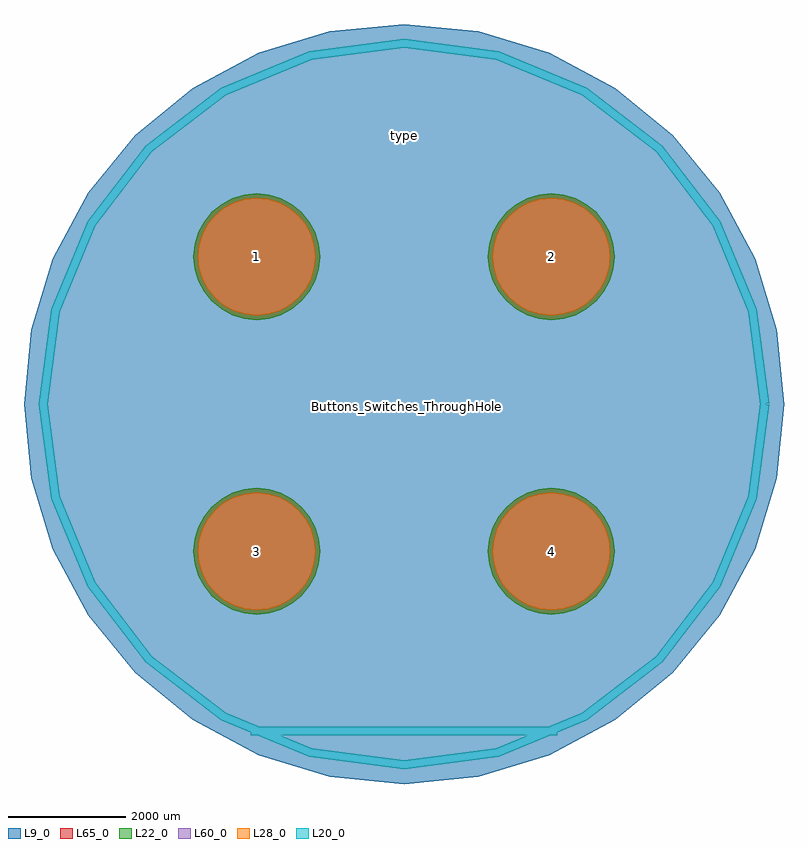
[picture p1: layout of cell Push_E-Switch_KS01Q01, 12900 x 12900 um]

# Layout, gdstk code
import gdstk
lib = gdstk.Library(unit=1e-6, precision=1e-09)
def P(c, l, *ps):  # polygons
    for p in ps: c.add(gdstk.Polygon(p, *l))
L9_0 = (9, 0)
L20_0 = (20, 0)
L22_0 = (22, 0)
L28_0 = (28, 0)
L60_0 = (60, 0)
L65_0 = (65, 0)

push_e_switch_ks01q01 = lib.new_cell('Push_E-Switch_KS01Q01')
P(push_e_switch_ks01q01, L9_0, [(8950,-2500),(8826.065,-1241.667),(8459.023,-31.692),(7862.979,1083.428),(7060.839,2060.839),(6083.428,2862.979),(4968.308,3459.023),(3758.333,3826.065),(2500,3950),(1241.667,3826.065),(31.692,3459.023),(-1083.428,2862.979),(-2060.839,2060.839),(-2862.979,1083.428),(-3459.023,-31.692),(-3826.065,-1241.667),(-3950,-2500),(-3826.065,-3758.333),(-3459.023,-4968.308),(-2862.979,-6083.428),(-2060.839,-7060.839),(-1083.428,-7862.979),(31.692,-8459.023),(1241.667,-8826.065),(2500,-8950),(3758.333,-8826.065),(4968.308,-8459.023),(6083.428,-7862.979),(7060.839,-7060.839),(7862.979,-6083.428),(8459.023,-4968.308),(8826.065,-3758.333)])
P(push_e_switch_ks01q01, L22_0, [(1075,-5000),(1054.344,-4790.278),(993.17,-4588.615),(893.83,-4402.762),(760.14,-4239.86),(597.238,-4106.17),(411.385,-4006.83),(209.722,-3945.656),(0,-3925),(-209.722,-3945.656),(-411.385,-4006.83),(-597.238,-4106.17),(-760.14,-4239.86),(-893.83,-4402.762),(-993.17,-4588.615),(-1054.344,-4790.278),(-1075,-5000),(-1054.344,-5209.722),(-993.17,-5411.385),(-893.83,-5597.238),(-760.14,-5760.14),(-597.238,-5893.83),(-411.385,-5993.17),(-209.722,-6054.344),(0,-6075),(209.722,-6054.344),(411.385,-5993.17),(597.238,-5893.83),(760.14,-5760.14),(893.83,-5597.238),(993.17,-5411.385),(1054.344,-5209.722)],
  [(6075,-5000),(6054.344,-4790.278),(5993.17,-4588.615),(5893.83,-4402.762),(5760.14,-4239.86),(5597.238,-4106.17),(5411.385,-4006.83),(5209.722,-3945.656),(5000,-3925),(4790.278,-3945.656),(4588.615,-4006.83),(4402.762,-4106.17),(4239.86,-4239.86),(4106.17,-4402.762),(4006.83,-4588.615),(3945.656,-4790.278),(3925,-5000),(3945.656,-5209.722),(4006.83,-5411.385),(4106.17,-5597.238),(4239.86,-5760.14),(4402.762,-5893.83),(4588.615,-5993.17),(4790.278,-6054.344),(5000,-6075),(5209.722,-6054.344),(5411.385,-5993.17),(5597.238,-5893.83),(5760.14,-5760.14),(5893.83,-5597.238),(5993.17,-5411.385),(6054.344,-5209.722)],
  [(6075,0),(6054.344,209.722),(5993.17,411.385),(5893.83,597.238),(5760.14,760.14),(5597.238,893.83),(5411.385,993.17),(5209.722,1054.344),(5000,1075),(4790.278,1054.344),(4588.615,993.17),(4402.762,893.83),(4239.86,760.14),(4106.17,597.238),(4006.83,411.385),(3945.656,209.722),(3925,0),(3945.656,-209.722),(4006.83,-411.385),(4106.17,-597.238),(4239.86,-760.14),(4402.762,-893.83),(4588.615,-993.17),(4790.278,-1054.344),(5000,-1075),(5209.722,-1054.344),(5411.385,-993.17),(5597.238,-893.83),(5760.14,-760.14),(5893.83,-597.238),(5993.17,-411.385),(6054.344,-209.722)],
  [(1075,0),(1054.344,209.722),(993.17,411.385),(893.83,597.238),(760.14,760.14),(597.238,893.83),(411.385,993.17),(209.722,1054.344),(0,1075),(-209.722,1054.344),(-411.385,993.17),(-597.238,893.83),(-760.14,760.14),(-893.83,597.238),(-993.17,411.385),(-1054.344,209.722),(-1075,0),(-1054.344,-209.722),(-993.17,-411.385),(-893.83,-597.238),(-760.14,-760.14),(-597.238,-893.83),(-411.385,-993.17),(-209.722,-1054.344),(0,-1075),(209.722,-1054.344),(411.385,-993.17),(597.238,-893.83),(760.14,-760.14),(893.83,-597.238),(993.17,-411.385),(1054.344,-209.722)])
P(push_e_switch_ks01q01, L28_0, [(1000,-5000),(980.785,-4804.91),(923.88,-4617.317),(831.47,-4444.43),(707.107,-4292.893),(555.57,-4168.53),(382.683,-4076.12),(195.09,-4019.215),(0,-4000),(-195.09,-4019.215),(-382.683,-4076.12),(-555.57,-4168.53),(-707.107,-4292.893),(-831.47,-4444.43),(-923.88,-4617.317),(-980.785,-4804.91),(-1000,-5000),(-980.785,-5195.09),(-923.88,-5382.683),(-831.47,-5555.57),(-707.107,-5707.107),(-555.57,-5831.47),(-382.683,-5923.88),(-195.09,-5980.785),(0,-6000),(195.09,-5980.785),(382.683,-5923.88),(555.57,-5831.47),(707.107,-5707.107),(831.47,-5555.57),(923.88,-5382.683),(980.785,-5195.09)],
  [(6000,-5000),(5980.785,-4804.91),(5923.88,-4617.317),(5831.47,-4444.43),(5707.107,-4292.893),(5555.57,-4168.53),(5382.683,-4076.12),(5195.09,-4019.215),(5000,-4000),(4804.91,-4019.215),(4617.317,-4076.12),(4444.43,-4168.53),(4292.893,-4292.893),(4168.53,-4444.43),(4076.12,-4617.317),(4019.215,-4804.91),(4000,-5000),(4019.215,-5195.09),(4076.12,-5382.683),(4168.53,-5555.57),(4292.893,-5707.107),(4444.43,-5831.47),(4617.317,-5923.88),(4804.91,-5980.785),(5000,-6000),(5195.09,-5980.785),(5382.683,-5923.88),(5555.57,-5831.47),(5707.107,-5707.107),(5831.47,-5555.57),(5923.88,-5382.683),(5980.785,-5195.09)],
  [(6000,0),(5980.785,195.09),(5923.88,382.683),(5831.47,555.57),(5707.107,707.107),(5555.57,831.47),(5382.683,923.88),(5195.09,980.785),(5000,1000),(4804.91,980.785),(4617.317,923.88),(4444.43,831.47),(4292.893,707.107),(4168.53,555.57),(4076.12,382.683),(4019.215,195.09),(4000,0),(4019.215,-195.09),(4076.12,-382.683),(4168.53,-555.57),(4292.893,-707.107),(4444.43,-831.47),(4617.317,-923.88),(4804.91,-980.785),(5000,-1000),(5195.09,-980.785),(5382.683,-923.88),(5555.57,-831.47),(5707.107,-707.107),(5831.47,-555.57),(5923.88,-382.683),(5980.785,-195.09)],
  [(1000,0),(980.785,195.09),(923.88,382.683),(831.47,555.57),(707.107,707.107),(555.57,831.47),(382.683,923.88),(195.09,980.785),(0,1000),(-195.09,980.785),(-382.683,923.88),(-555.57,831.47),(-707.107,707.107),(-831.47,555.57),(-923.88,382.683),(-980.785,195.09),(-1000,0),(-980.785,-195.09),(-923.88,-382.683),(-831.47,-555.57),(-707.107,-707.107),(-555.57,-831.47),(-382.683,-923.88),(-195.09,-980.785),(0,-1000),(195.09,-980.785),(382.683,-923.88),(555.57,-831.47),(707.107,-707.107),(831.47,-555.57),(923.88,-382.683),(980.785,-195.09)])
P(push_e_switch_ks01q01, L60_0, [(1000,-5000),(980.785,-4804.91),(923.88,-4617.317),(831.47,-4444.43),(707.107,-4292.893),(555.57,-4168.53),(382.683,-4076.12),(195.09,-4019.215),(0,-4000),(-195.09,-4019.215),(-382.683,-4076.12),(-555.57,-4168.53),(-707.107,-4292.893),(-831.47,-4444.43),(-923.88,-4617.317),(-980.785,-4804.91),(-1000,-5000),(-980.785,-5195.09),(-923.88,-5382.683),(-831.47,-5555.57),(-707.107,-5707.107),(-555.57,-5831.47),(-382.683,-5923.88),(-195.09,-5980.785),(0,-6000),(195.09,-5980.785),(382.683,-5923.88),(555.57,-5831.47),(707.107,-5707.107),(831.47,-5555.57),(923.88,-5382.683),(980.785,-5195.09)],
  [(6000,-5000),(5980.785,-4804.91),(5923.88,-4617.317),(5831.47,-4444.43),(5707.107,-4292.893),(5555.57,-4168.53),(5382.683,-4076.12),(5195.09,-4019.215),(5000,-4000),(4804.91,-4019.215),(4617.317,-4076.12),(4444.43,-4168.53),(4292.893,-4292.893),(4168.53,-4444.43),(4076.12,-4617.317),(4019.215,-4804.91),(4000,-5000),(4019.215,-5195.09),(4076.12,-5382.683),(4168.53,-5555.57),(4292.893,-5707.107),(4444.43,-5831.47),(4617.317,-5923.88),(4804.91,-5980.785),(5000,-6000),(5195.09,-5980.785),(5382.683,-5923.88),(5555.57,-5831.47),(5707.107,-5707.107),(5831.47,-5555.57),(5923.88,-5382.683),(5980.785,-5195.09)],
  [(6000,0),(5980.785,195.09),(5923.88,382.683),(5831.47,555.57),(5707.107,707.107),(5555.57,831.47),(5382.683,923.88),(5195.09,980.785),(5000,1000),(4804.91,980.785),(4617.317,923.88),(4444.43,831.47),(4292.893,707.107),(4168.53,555.57),(4076.12,382.683),(4019.215,195.09),(4000,0),(4019.215,-195.09),(4076.12,-382.683),(4168.53,-555.57),(4292.893,-707.107),(4444.43,-831.47),(4617.317,-923.88),(4804.91,-980.785),(5000,-1000),(5195.09,-980.785),(5382.683,-923.88),(5555.57,-831.47),(5707.107,-707.107),(5831.47,-555.57),(5923.88,-382.683),(5980.785,-195.09)],
  [(1000,0),(980.785,195.09),(923.88,382.683),(831.47,555.57),(707.107,707.107),(555.57,831.47),(382.683,923.88),(195.09,980.785),(0,1000),(-195.09,980.785),(-382.683,923.88),(-555.57,831.47),(-707.107,707.107),(-831.47,555.57),(-923.88,382.683),(-980.785,195.09),(-1000,0),(-980.785,-195.09),(-923.88,-382.683),(-831.47,-555.57),(-707.107,-707.107),(-555.57,-831.47),(-382.683,-923.88),(-195.09,-980.785),(0,-1000),(195.09,-980.785),(382.683,-923.88),(555.57,-831.47),(707.107,-707.107),(831.47,-555.57),(923.88,-382.683),(980.785,-195.09)])
P(push_e_switch_ks01q01, L65_0, [(1075,-5000),(1054.344,-4790.278),(993.17,-4588.615),(893.83,-4402.762),(760.14,-4239.86),(597.238,-4106.17),(411.385,-4006.83),(209.722,-3945.656),(0,-3925),(-209.722,-3945.656),(-411.385,-4006.83),(-597.238,-4106.17),(-760.14,-4239.86),(-893.83,-4402.762),(-993.17,-4588.615),(-1054.344,-4790.278),(-1075,-5000),(-1054.344,-5209.722),(-993.17,-5411.385),(-893.83,-5597.238),(-760.14,-5760.14),(-597.238,-5893.83),(-411.385,-5993.17),(-209.722,-6054.344),(0,-6075),(209.722,-6054.344),(411.385,-5993.17),(597.238,-5893.83),(760.14,-5760.14),(893.83,-5597.238),(993.17,-5411.385),(1054.344,-5209.722)],
  [(6075,-5000),(6054.344,-4790.278),(5993.17,-4588.615),(5893.83,-4402.762),(5760.14,-4239.86),(5597.238,-4106.17),(5411.385,-4006.83),(5209.722,-3945.656),(5000,-3925),(4790.278,-3945.656),(4588.615,-4006.83),(4402.762,-4106.17),(4239.86,-4239.86),(4106.17,-4402.762),(4006.83,-4588.615),(3945.656,-4790.278),(3925,-5000),(3945.656,-5209.722),(4006.83,-5411.385),(4106.17,-5597.238),(4239.86,-5760.14),(4402.762,-5893.83),(4588.615,-5993.17),(4790.278,-6054.344),(5000,-6075),(5209.722,-6054.344),(5411.385,-5993.17),(5597.238,-5893.83),(5760.14,-5760.14),(5893.83,-5597.238),(5993.17,-5411.385),(6054.344,-5209.722)],
  [(6075,0),(6054.344,209.722),(5993.17,411.385),(5893.83,597.238),(5760.14,760.14),(5597.238,893.83),(5411.385,993.17),(5209.722,1054.344),(5000,1075),(4790.278,1054.344),(4588.615,993.17),(4402.762,893.83),(4239.86,760.14),(4106.17,597.238),(4006.83,411.385),(3945.656,209.722),(3925,0),(3945.656,-209.722),(4006.83,-411.385),(4106.17,-597.238),(4239.86,-760.14),(4402.762,-893.83),(4588.615,-993.17),(4790.278,-1054.344),(5000,-1075),(5209.722,-1054.344),(5411.385,-993.17),(5597.238,-893.83),(5760.14,-760.14),(5893.83,-597.238),(5993.17,-411.385),(6054.344,-209.722)],
  [(1075,0),(1054.344,209.722),(993.17,411.385),(893.83,597.238),(760.14,760.14),(597.238,893.83),(411.385,993.17),(209.722,1054.344),(0,1075),(-209.722,1054.344),(-411.385,993.17),(-597.238,893.83),(-760.14,760.14),(-893.83,597.238),(-993.17,411.385),(-1054.344,209.722),(-1075,0),(-1054.344,-209.722),(-993.17,-411.385),(-893.83,-597.238),(-760.14,-760.14),(-597.238,-893.83),(-411.385,-993.17),(-209.722,-1054.344),(0,-1075),(209.722,-1054.344),(411.385,-993.17),(597.238,-893.83),(760.14,-760.14),(893.83,-597.238),(993.17,-411.385),(1054.344,-209.722)])
push_e_switch_ks01q01.add(gdstk.FlexPath([(5100.96,-8049.62),(-100.96,-8049.62)], 149.998, ends="flush", simple_path=True, layer=20, datatype=0))  # L20_0
push_e_switch_ks01q01.add(gdstk.FlexPath([(8625,-2500),(8416.296,-914.733),(7804.406,562.5),(6831.029,1831.029),(5562.5,2804.406),(4085.267,3416.296),(2500,3625),(914.733,3416.296),(-562.5,2804.406),(-1831.029,1831.029),(-2804.406,562.5),(-3416.296,-914.733),(-3625,-2500),(-3416.296,-4085.267),(-2804.406,-5562.5),(-1831.029,-6831.029),(-562.5,-7804.406),(914.733,-8416.296),(2500,-8625),(4085.267,-8416.296),(5562.5,-7804.406),(6831.029,-6831.029),(7804.406,-5562.5),(8416.296,-4085.267),(8625,-2500)], 149.998, ends="flush", simple_path=True, layer=20, datatype=0))  # L20_0
push_e_switch_ks01q01.add(gdstk.Label('Buttons_Switches_ThroughHole.3dshapes/Push_E-Switch_KS01Q01.wrl', (2540,-2540), layer=12, texttype=0))
push_e_switch_ks01q01.add(gdstk.Label('3', (0,-5000), layer=28, texttype=0))
push_e_switch_ks01q01.add(gdstk.Label('4', (5000,-5000), layer=28, texttype=0))
push_e_switch_ks01q01.add(gdstk.Label('2', (5000,0), layer=28, texttype=0))
push_e_switch_ks01q01.add(gdstk.Label('1', (0,0), layer=28, texttype=0))
push_e_switch_ks01q01.add(gdstk.Label('type', (2500,2049.14), layer=9, texttype=0))
push_e_switch_ks01q01.add(gdstk.Label('devicename', (2500,-2500), layer=9, texttype=0))

lib.write_gds('Push_E-Switch_KS01Q01.gds')
